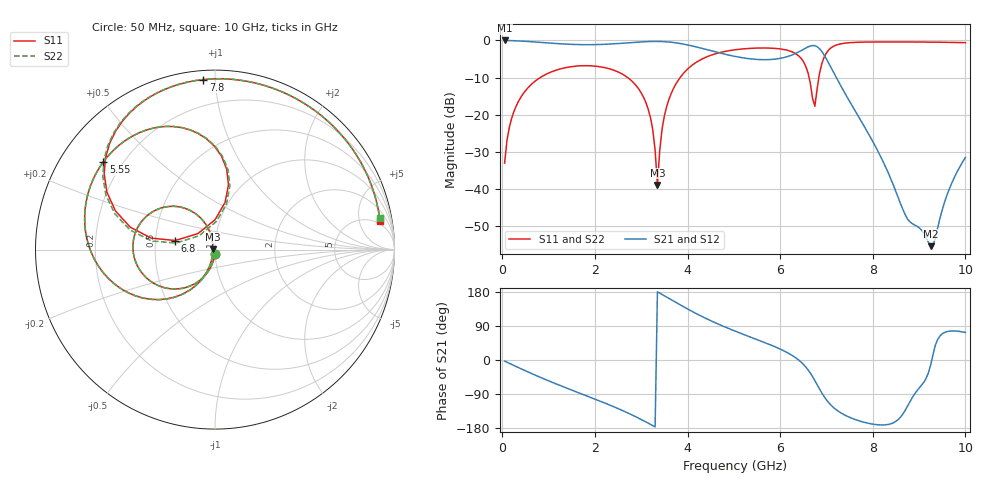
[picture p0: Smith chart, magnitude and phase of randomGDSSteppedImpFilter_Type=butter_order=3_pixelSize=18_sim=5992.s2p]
! freq	dB(S11)	phase(S11)	dB(S12)	phase(S12)
!  dB(S21)	phase(S21)	dB(S22)	phase(S22)
!S-par simulation data
#  GHz  S  DB  R 50
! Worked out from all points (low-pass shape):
!   200 points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, 50 MHz to 10 GHz, reference 50 ohm
!   highest |S21| = 0.00 dB at 50 MHz (marker M1); lowest = -55.3 dB at 9.25 GHz (marker M2)
!   |S21| within 3 dB of the highest: start of sweep to 4.58 GHz; 6.413 GHz to 6.901 GHz (488.7 MHz wide, 7.34 % of centre)
!   lowest |S11| = -38.8 dB at 3.35 GHz (marker M3), VSWR 1.02, Z = 48.9 + j0.056 ohm
!   |S11| at or under -10 dB: start of sweep to 815.9 MHz; 2.709 GHz to 3.839 GHz (1.129 GHz wide, 34.5 % of centre); 6.625 GHz to 6.836 GHz (210.8 MHz wide, 3.13 % of centre)
!   |S22| runs from -39.7 to -0.4 dB; largest |S21 - S12| = 0
!   S11 on the Smith chart (normalised r, x): 50 MHz: 1.00, -0.04; 5.55 GHz: 0.13, +0.34; 6.8 GHz: 0.63, +0.07; 7.8 GHz: 0.05, +0.93; 10 GHz: 4, +10
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0.05  -32.96 -93.0  -0.00 -2.9  -0.00 -2.9  -32.96 -93.0
0.2  -21.03 -102.1  -0.05 -11.6  -0.05 -11.6  -21.03 -102.1
0.5  -13.52 -119.1  -0.24 -28.5  -0.24 -28.5  -13.52 -119.1
1.75  -6.79 178.3  -1.13 -91.2  -1.13 -91.2  -6.79 178.3
3  -14.10 114.9  -0.39 -157.0  -0.39 -157.0  -14.10 114.7
3.25  -24.07 106.0  -0.27 -173.2  -0.27 -173.2  -24.09 105.1
3.35  -38.82 177.1  -0.26 180.0  -0.26 180.0  -39.72 177.1
3.4  -29.55 -114.8  -0.28 176.5  -0.28 176.5  -29.65 -112.8
3.55  -17.74 -110.0  -0.37 166.0  -0.37 166.0  -17.74 -109.4
3.85  -9.80 -127.9  -0.84 144.9  -0.84 144.9  -9.80 -127.6
5.05  -2.47 164.6  -4.36 75.1  -4.36 75.1  -2.47 164.7
5.55  -2.04 141.8  -5.14 51.6  -5.14 51.6  -2.04 141.8
6.4  -4.15 94.5  -3.09 -0.1  -3.09 -0.1  -4.17 94.0
6.7  -15.57 89.8  -1.36 -43.9  -1.36 -43.9  -16.06 86.8
6.75  -17.68 137.0  -1.41 -54.4  -1.41 -54.4  -18.60 138.9
6.8  -12.86 167.1  -1.69 -65.4  -1.69 -65.4  -13.16 170.5
7.1  -1.97 139.9  -7.32 -119.4  -7.32 -119.4  -1.98 141.0
7.8  -0.45 93.9  -22.76 -164.0  -22.76 -164.0  -0.45 94.5
8.35  -0.40 71.3  -36.02 -169.6  -36.02 -169.6  -0.40 72.0
8.75  -0.41 56.3  -48.00 -121.9  -48.00 -121.9  -0.41 56.9
9.25  -0.45 37.9  -55.29 -13.4  -55.29 -13.4  -0.45 38.6
10  -0.60 9.9  -31.45 72.8  -31.45 72.8  -0.59 10.7
